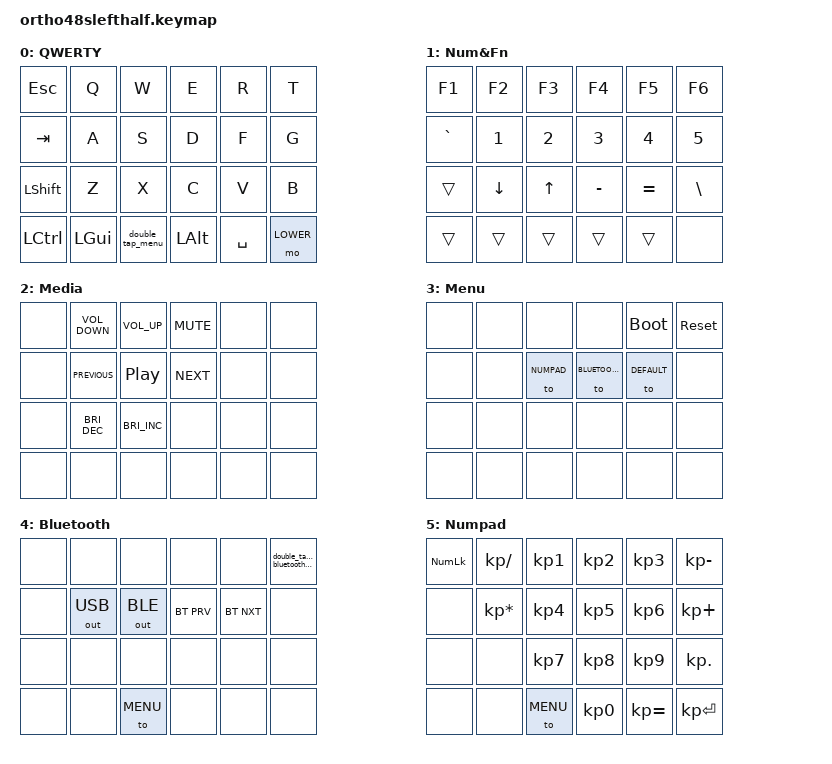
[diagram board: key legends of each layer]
#include <behaviors.dtsi>
#include <dt-bindings/zmk/keys.h>
#include <dt-bindings/zmk/bt.h>
#include <dt-bindings/zmk/outputs.h>

#define DEFAULT 0
#define LOWER 1
#define MEDIA 2
#define MENU 3
#define BLUETOOTH 4
#define NUMPAD 5

/ {
  behaviors {
    double_tap_clear_bluetooth_profile: tap_dance_bpclr {
      compatible = "zmk,behavior-tap-dance";
      #binding-cells = <0>;
      tapping-term-ms = <150>;
      bindings = <&none>, <&bt BT_CLR>;
    };
    double_tap_menu: tap_dance_menu {
      compatible = "zmk,behavior-tap-dance";
      #binding-cells = <0>;
      tapping-term-ms = <150>;
      bindings = <&lt MEDIA &none>, <&to MENU>;
    };
  };

  keymap {
    compatible = "zmk,keymap";

    default_layer {
      display-name = "QWERTY";
      bindings = <
        &kp ESC &kp Q &kp W &kp E &kp R &kp T
        &kp TAB &kp A &kp S &kp D &kp F &kp G
        &kp LSHIFT &kp Z &kp X &kp C &kp V &kp B
        &kp LCTRL &kp LGUI &double_tap_menu &kp LALT &kp SPACE &mo LOWER
      >;
    };
    lower_layer {
      display-name = "Num&Fn";
      bindings = <
        &kp F1 &kp F2 &kp F3 &kp F4 &kp F5 &kp F6
        &kp GRAVE &kp N1 &kp N2 &kp N3 &kp N4 &kp N5
        &trans &kp DOWN &kp UP &kp MINUS &kp EQUAL &kp BACKSLASH
        &trans &trans &trans &trans &trans &none
      >;
    };
    media_layer {
      display-name = "Media";
      bindings = <
        &none &kp C_VOLUME_DOWN &kp C_VOLUME_UP &kp C_MUTE &none &none
        &none &kp C_PREVIOUS &kp C_PLAY_PAUSE &kp C_NEXT &none &none
        &none &kp C_BRIGHTNESS_DEC &kp C_BRIGHTNESS_INC &none &none &none
        &none &none &none &none &none &none
      >;
    };
    menu_layer {
      display-name = "Menu";
      bindings = <
        &none &none &none &none &bootloader &sys_reset
        &none &none &to NUMPAD &to BLUETOOTH &to DEFAULT &none
        &none &none &none &none &none &none
        &none &none &none &none &none &none
      >;
    };
    bluetooth_layer {
      display-name = "Bluetooth";
      bindings = <
        &none &none &none &none &none &double_tap_clear_bluetooth_profile
        &none &out OUT_USB &out OUT_BLE &bt BT_PRV &bt BT_NXT &none
        &none &none &none &none &none &none
        &none &none &to MENU &none &none &none
      >;
    };
    Numpad_layer {
      display-name = "Numpad";
      bindings = <
        &kp KP_NUMLOCK &kp KP_DIVIDE &kp KP_N1 &kp KP_N2 &kp KP_N3 &kp KP_MINUS
        &none &kp KP_MULTIPLY &kp KP_N4 &kp KP_N5 &kp KP_N6 &kp KP_PLUS
        &none &none &kp KP_N7 &kp KP_N8 &kp KP_N9 &kp KP_DOT
        &none &none &to MENU &kp KP_N0 &kp KP_EQUAL &kp KP_ENTER
      >;
    };
  };
};
